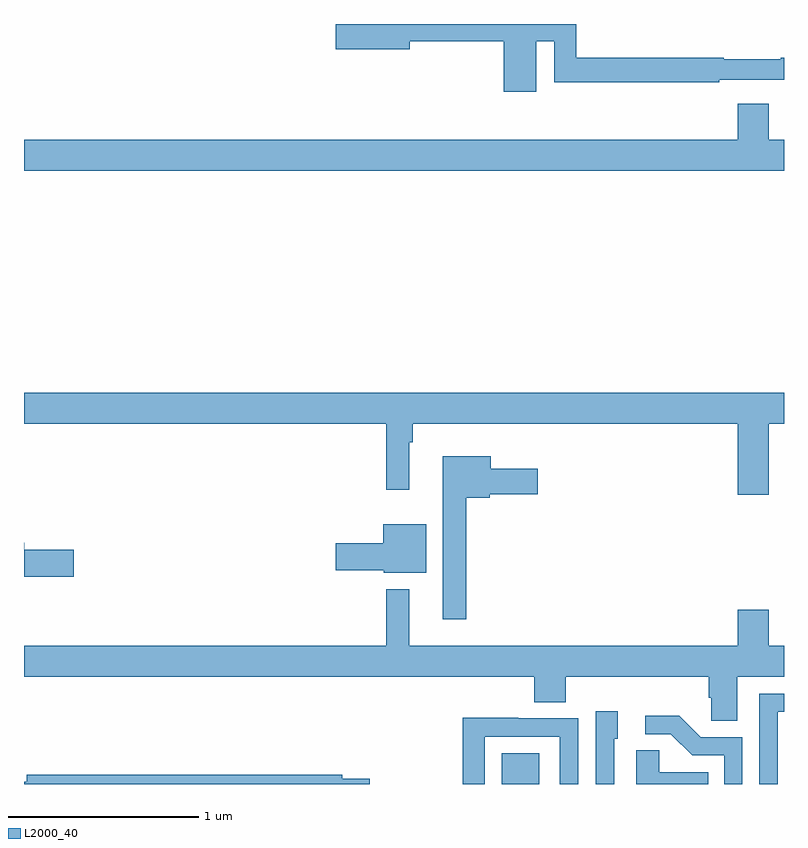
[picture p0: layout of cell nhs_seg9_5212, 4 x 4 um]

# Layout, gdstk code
import gdstk
lib = gdstk.Library(unit=1e-6, precision=1e-09)
def R(c, l, rs):  # rectangles x0, y0, x1, y1
    for r in rs: c.add(gdstk.rectangle(r[:2], r[2:], *l))
def P(c, l, *ps):  # polygons
    for p in ps: c.add(gdstk.Polygon(p, *l))
L2000_40 = (2000, 40)

nhs_seg9_5212 = lib.new_cell('nhs_seg9_5212')
R(nhs_seg9_5212, L2000_40, [(415.514,1218.5,415.711,1218.661)])
P(nhs_seg9_5212, L2000_40, [(415.696,1222.408),(415.791,1222.408),(415.791,1222.194),(416.66,1222.194),(416.66,1222.206),(417,1222.206),(417,1222.322),(416.984,1222.322),(416.984,1222.315),(416.684,1222.315),(416.684,1222.322),(415.907,1222.322),(415.907,1222.5),(414.642,1222.5),(414.642,1222.366),(415.03,1222.366),(415.03,1222.408),(415.526,1222.408),(415.526,1222.143),(415.696,1222.143)],
  [(417,1221.892),(416.92,1221.892),(416.92,1222.081),(416.756,1222.081),(416.756,1221.892),(413,1221.892),(413,1221.728),(417,1221.728)],
  [(416.92,1220.396),(417,1220.396),(417,1220.56),(413,1220.56),(413,1220.396),(414.906,1220.396),(414.906,1220.049),(415.027,1220.049),(415.027,1220.3),(415.045,1220.3),(415.045,1220.396),(416.756,1220.396),(416.756,1220.022),(416.92,1220.022)],
  [(415.327,1220.006),(415.452,1220.006),(415.452,1220.024),(415.705,1220.024),(415.705,1220.158),(415.456,1220.158),(415.456,1220.224),(415.205,1220.224),(415.205,1219.368),(415.327,1219.368)],
  [(415.117,1219.867),(414.89,1219.867),(414.89,1219.766),(414.642,1219.766),(414.642,1219.624),(414.894,1219.624),(414.894,1219.613),(415.117,1219.613)],
  [(413.263,1219.733),(413.002,1219.733),(413.002,1219.769),(413,1219.769),(413,1219.591),(413.263,1219.591)],
  [(416.755,1219.064),(417,1219.064),(417,1219.228),(416.92,1219.228),(416.92,1219.417),(416.756,1219.417),(416.756,1219.228),(415.027,1219.228),(415.027,1219.525),(414.906,1219.525),(414.906,1219.228),(413,1219.228),(413,1219.064),(415.685,1219.064),(415.685,1218.931),(415.85,1218.931),(415.85,1219.064),(416.603,1219.064),(416.603,1218.955),(416.616,1218.955),(416.616,1218.832),(416.755,1218.832)],
  [(416.967,1218.879),(417,1218.879),(417,1218.975),(416.871,1218.975),(416.871,1218.5),(416.967,1218.5)],
  [(416.106,1218.738),(416.125,1218.738),(416.125,1218.883),(416.01,1218.883),(416.01,1218.5),(416.106,1218.5)],
  [(416.781,1218.747),(416.562,1218.747),(416.449,1218.86),(416.271,1218.86),(416.271,1218.762),(416.405,1218.762),(416.516,1218.651),(416.685,1218.651),(416.685,1218.5),(416.781,1218.5)],
  [(415.425,1218.75),(415.821,1218.75),(415.821,1218.5),(415.917,1218.5),(415.917,1218.846),(415.601,1218.846),(415.601,1218.848),(415.309,1218.848),(415.309,1218.5),(415.425,1218.5)],
  [(416.6,1218.562),(416.343,1218.562),(416.343,1218.677),(416.222,1218.677),(416.222,1218.5),(416.6,1218.5)],
  [(414.821,1218.528),(414.674,1218.528),(414.674,1218.548),(413.015,1218.548),(413.015,1218.512),(413,1218.512),(413,1218.5),(414.821,1218.5)])

lib.write_gds('nhs_seg9_5212.gds')
